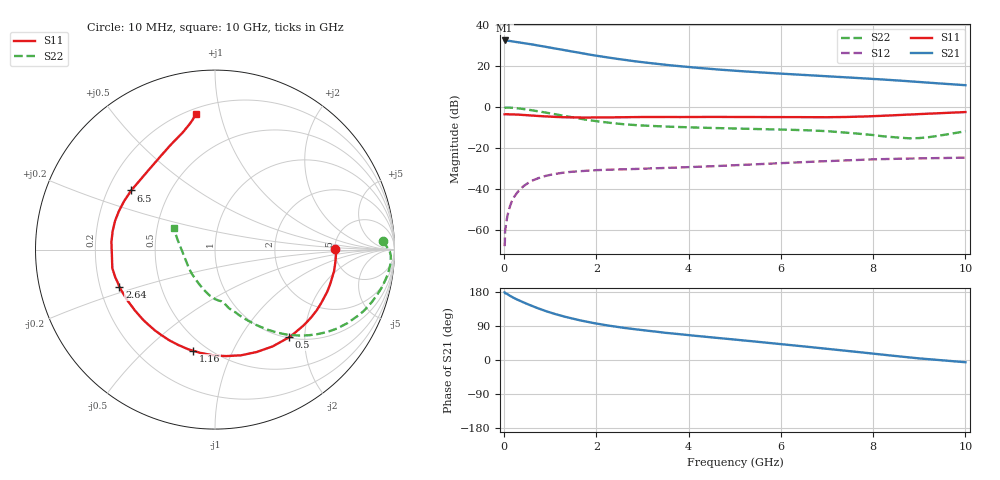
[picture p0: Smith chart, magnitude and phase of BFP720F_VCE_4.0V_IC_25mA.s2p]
! Infineon Technologies  Discrete & RF Semiconductors
! BFP720F
! VCE =  4.0 V,  IC =  25 mA
! Common Emitter S-Parameters:  Jan 2016
# GHz  S  MA  R  50
!  f  S11  S21  S12  S22
! GHz  MAG  ANG  MAG  ANG  MAG  ANG  MAG  ANG
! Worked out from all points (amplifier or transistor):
!   233 points, 10 MHz to 10 GHz, reference 50 ohm
!   highest |S21| = 32.7 dB at 10 MHz (marker M1)
!   |S21| within 3 dB of that: start of sweep to 877.4 MHz
!   unconditionally stable (mu >= 1): start of sweep to 17.06 MHz; 5.112 GHz to end of sweep
!   at 200 MHz: K = 0.17, MSG = 38.4 dB, |S12| = -44.6 dB
!   at 1.74 GHz: K = 0.49, MSG = 28.6 dB, |S12| = -31.1 dB
!   at 10 GHz: K = 1.16, MAG = 15.3 dB, |S12| = -24.7 dB
!   S11 on the Smith chart (normalised r, x): 10 MHz: 5.05, +0.02; 500 MHz: 1.01, -1.67; 1.16 GHz: 0.42, -0.71; 2.64 GHz: 0.28, -0.17; 6.5 GHz: 0.30, +0.29; 10 GHz: 0.23, +0.84
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0.01  0.6692 0.1  42.95 178.5  0.0004 2.6  0.9363 3.0
0.02  0.6752 -1.5  42.7 176.2  0.0009 76.8  0.9738 -0.6
0.05  0.6747 -5.1  42.52 175.3  0.0016 75.8  0.9805 -2.0
0.1  0.6741 -10.2  42.04 171.5  0.003 79.0  0.9804 -5.0
0.24  0.6639 -24.7  39.78 161.9  0.007 75.5  0.9542 -12.5
0.4  0.6496 -40.6  37.32 152.9  0.0112 69.6  0.9102 -20.3
0.5  0.6394 -49.9  35.83 147.8  0.0136 65.8  0.8796 -24.6
0.6  0.6277 -59.2  34.45 142.7  0.0158 62.2  0.8454 -28.9
0.8  0.6065 -76.2  31.54 133.5  0.0194 55.5  0.7759 -36.3
1  0.5885 -91.5  28.71 125.2  0.0222 49.7  0.7056 -42.6
1.16  0.5764 -102.3  26.6 119.4  0.024 46.0  0.6536 -46.9
1.42  0.5648 -117.8  23.55 111.0  0.0261 41.0  0.5785 -53.1
1.68  0.5595 -130.6  20.91 103.8  0.0276 37.3  0.5154 -58.1
2.2  0.5637 -148.7  16.78 92.0  0.0295 32.5  0.4266 -66.0
2.64  0.5712 -158.7  14.22 84.1  0.0304 30.5  0.3799 -70.7
3.4  0.58 -168.6  11.21 73.2  0.0324 29.7  0.3405 -75.9
4  0.5786 175.7  9.589 65.5  0.0342 29.7  0.3218 -78.0
5.1  0.5784 162.8  7.67 52.7  0.0386 29.9  0.2988 -81.2
6.5  0.5714 144.8  6.164 35.8  0.0455 27.9  0.2752 -90.2
6.8  0.5692 140.1  5.891 32.1  0.0471 27.0  0.2656 -93.5
8.4  0.6328 113.1  4.616 11.6  0.0545 20.6  0.1868 -133.5
10  0.7615 98.0  3.46 -5.9  0.0585 14.4  0.2584 152.9
